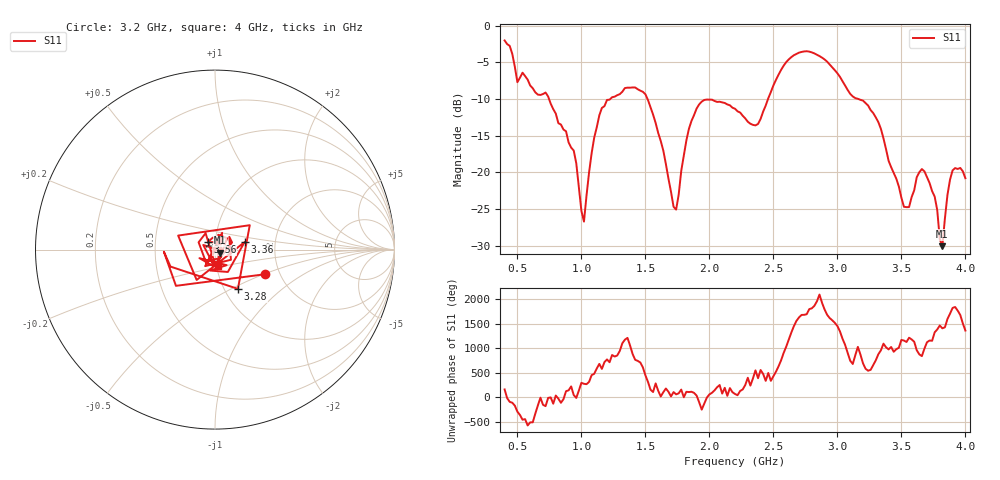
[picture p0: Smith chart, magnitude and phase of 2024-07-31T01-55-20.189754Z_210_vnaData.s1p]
!Created with skrf (http://scikit-rf.org).
# Hz S RI R 50.0
!freq ReS11 ImS11
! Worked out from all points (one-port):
!   181 points, 400 MHz to 4 GHz, reference 50 ohm
!   lowest |S11| = -30.1 dB at 3.82 GHz (marker M1), VSWR 1.06, Z = 52.7 - j1.79 ohm
!   |S11| at or under -10 dB: 746.9 MHz to 1.226 GHz (478.9 MHz wide, 48.6 % of centre); 1.516 GHz to 2.458 GHz (941.6 MHz wide, 47.4 % of centre); 3.163 GHz to end of sweep
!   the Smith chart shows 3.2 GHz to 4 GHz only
!   S11 on the Smith chart (normalised r, x): 3.2 GHz: 1.67, -0.51; 3.28 GHz: 1.16, -0.54; 3.36 GHz: 1.39, +0.12; 3.56 GHz: 0.92, +0.07; 4 GHz: 1.02, -0.18
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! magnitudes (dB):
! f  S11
! 400 MHz  -2.0
! 500 MHz  -7.7
! 720 MHz  -9.1
! 860 MHz  -14.2
! 940 MHz  -17.0
! 1.02 GHz  -26.7
! 1.08 GHz  -17.4
! 1.14 GHz  -12.2
! 1.3 GHz  -9.3
! 1.5 GHz  -9.4
! 1.72 GHz  -24.7
! 1.76 GHz  -23.1
! 1.84 GHz  -14.1
! 1.92 GHz  -10.7
! 2.2 GHz  -11.3
! 2.38 GHz  -13.4
! 2.66 GHz  -4.0
! 2.88 GHz  -4.4
! 3.1 GHz  -9.3
! 3.2 GHz  -10.2
! 3.28 GHz  -11.9
! 3.36 GHz  -15.4
! 3.56 GHz  -24.7
! 3.68 GHz  -19.9
! 3.76 GHz  -23.3
! 3.82 GHz  -30.1
! 3.9 GHz  -19.7
! 4 GHz  -20.8
